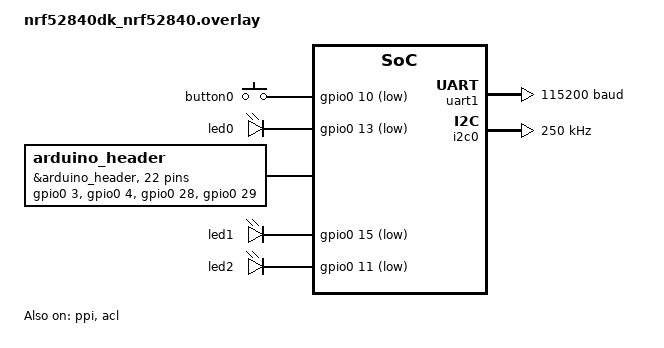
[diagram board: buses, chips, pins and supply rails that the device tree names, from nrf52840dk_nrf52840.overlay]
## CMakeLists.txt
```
cmake_minimum_required(VERSION 3.20.0)
find_package(Zephyr REQUIRED HINTS $ENV{ZEPHYR_BASE})

project(hellow_word)

target_sources(app PRIVATE src/main.c)
```

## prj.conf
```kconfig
CONFIG_LOG=y
CONFIG_GPIO=y

# UART配置
CONFIG_UART_ASYNC_API=y
CONFIG_UART_1_ASYNC=y
CONFIG_UART_1_INTERRUPT_DRIVEN=y
#配置I2C
CONFIG_I2C=y
# CONFIG_I2C_TARGET=y
#CONFIG_LOG_BACKEND_UART=y
# CONFIG_USE_SEGGER_RTT=y
# CONFIG_LOG_BACKEND_RTT=y
# CONFIG_RTT_CONSOLE=y

# 禁用NFC功能，释放P0.09和P0.10引脚
#CONFIG_NFCT=n
```

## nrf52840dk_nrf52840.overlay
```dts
// To get started, press Ctrl+Space to bring up the completion menu and view the available nodes.

// You can also use the buttons in the sidebar to perform actions on nodes.
// Actions currently available include:

// * Enabling / disabling the node
// * Adding the bus to a bus
// * Removing the node
// * Connecting ADC channels

// For more help, browse the DeviceTree documentation at https://docs.zephyrproject.org/latest/guides/dts/index.html
// You can also visit the nRF DeviceTree extension documentation at https://docs.nordicsemi.com/bundle/nrf-connect-vscode/page/guides/ncs_configure_app.html#devicetree-support-in-the-extension

/{
	aliases
	{
		user-key-1=&button0;
		uart1-use-protocol=&uart1;
		user-i2c=&i2c0;
	};
};


&gpio1 {
    status = "okay";
};
&ppi {
	status = "okay";
};

&usbd {
	status = "disabled";
};

&ieee802154 {
	status = "disabled";
};

&ficr {
	status = "disabled";
};


&nfct {
	status = "disabled";
};


&uicr {
	nfct-pins-as-gpios;
};

// &flexcomm4 {
// 	status = "okay";
// };

&button0 {
	gpios = <&gpio0 10 (GPIO_ACTIVE_LOW | GPIO_PULL_UP)>;
};

&led0 {
	gpios = <&gpio0 13 GPIO_ACTIVE_LOW>;
};

&arduino_adc {
	io-channel-map = <0 &adc 1>, <1 &adc 2>, <2 &adc 4>, <3 &adc 5>, <4 &adc 6>, <5 &adc 7>;
};

&arduino_header {
	gpio-map = <ARDUINO_HEADER_R3_A0 0 &gpio0 3 0>,
			   <ARDUINO_HEADER_R3_A1 0 &gpio0 4 0>,
			   <ARDUINO_HEADER_R3_A2 0 &gpio0 28 0>,
			   <ARDUINO_HEADER_R3_A3 0 &gpio0 29 0>,
			   <ARDUINO_HEADER_R3_A4 0 &gpio0 30 0>,
			   <ARDUINO_HEADER_R3_A5 0 &gpio0 31 0>,
			   <ARDUINO_HEADER_R3_D0 0 &gpio1 1 0>,
			   <ARDUINO_HEADER_R3_D1 0 &gpio1 2 0>,
			   <ARDUINO_HEADER_R3_D2 0 &gpio1 3 0>,
			   <ARDUINO_HEADER_R3_D3 0 &gpio1 4 0>,
			   <ARDUINO_HEADER_R3_D4 0 &gpio1 5 0>,
			   <ARDUINO_HEADER_R3_D5 0 &gpio1 6 0>,
			   <ARDUINO_HEADER_R3_D6 0 &gpio1 7 0>,
			   <ARDUINO_HEADER_R3_D7 0 &gpio1 8 0>,
			   <ARDUINO_HEADER_R3_D8 0 &gpio1 10 0>,
			   <ARDUINO_HEADER_R3_D9 0 &gpio1 11 0>,
			   <ARDUINO_HEADER_R3_D10 0 &gpio1 12 0>,
			   <ARDUINO_HEADER_R3_D11 0 &gpio1 13 0>,
			   <ARDUINO_HEADER_R3_D12 0 &gpio1 14 0>,
			   <ARDUINO_HEADER_R3_D13 0 &gpio1 15 0>,
			   <ARDUINO_HEADER_R3_D14 0 &gpio0 26 0>,
			   <ARDUINO_HEADER_R3_D15 0 &gpio0 27 0>;
};

&pwm_led0 {
	pwms = <&pwm0 0 20 PWM_POLARITY_NORMAL>;
};

&pwm0_default {
	group1 {
		psels = <NRF_PSEL(PWM_OUT0, 0, 13)>;
		nordic,invert;
		bias-pull-down;
	};
};

&led1 {
	gpios = <&gpio0 15 (GPIO_ACTIVE_LOW | GPIO_PULL_UP)>;
};


&led2 {
	gpios = <&gpio0 11 GPIO_ACTIVE_LOW>;
};

&uart1 {
	status = "okay";
	current-speed = <115200>;
};

&uart1_default {
	group1 {
		psels = <NRF_PSEL(UART_RX, 0, 24)>;
	};
	group2 {
		psels = <NRF_PSEL(UART_TX, 0, 22)>;
	};
};

&i2c0 {
	status = "okay";
	clock-frequency = <250000>;
};

&timer0 {
	status = "disabled";
};

&acl {
	status = "okay";
};

&clock {
	status = "disabled";
};

&systick {
	status = "disabled";
};

&i2c0_default {
	group1 {
		psels = <NRF_PSEL(TWIM_SCL, 0, 20)>, <NRF_PSEL(TWIM_SDA, 0, 2)>;
	};
};

&gpiote {
	status = "okay";
};

&spi3_default {
	group1 {
		psels = <NRF_PSEL(SPIM_SCK, 1, 15)>,
				<NRF_PSEL(SPIM_MISO, 1, 14)>,
				<NRF_PSEL(SPIM_MOSI, 1, 13)>;
	};
};

&wdt {
	status = "disabled";
};
```

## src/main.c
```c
#include <zephyr/drivers/gpio.h>
#include <zephyr/logging/log.h>
#include <zephyr/kernel.h>
#include <zephyr/drivers/uart.h>
#include <zephyr/drivers/i2c.h>
#include <strings.h>
#include <autoconf.h>

#define BUTTON_NODE DT_ALIAS(user_key_1)
//#define BUTTON_NODE  DT_NODELABEL(button0)
#define LED_NODE DT_NODELABEL(led0)

//#define LED1_NODE DT_NODELABEL(led1)
LOG_MODULE_REGISTER(main, LOG_LEVEL_DBG);
static struct gpio_dt_spec button_struct = GPIO_DT_SPEC_GET(BUTTON_NODE, gpios);
static struct gpio_dt_spec led_struct = GPIO_DT_SPEC_GET(LED_NODE, gpios);
static struct gpio_callback button_callback_struct;

// struct gpio_dt_spec led1_struct = GPIO_DT_SPEC_GET(LED1_NODE, gpios);

uint8_t int_flag = 0;
uint8_t uart1_rx_buf[128] = {0};    // 接收缓冲区
uint8_t uart1_tx_buf[128] = {0};    // 发送缓冲区
bool tx_busy = false;               // 鍙戦€佸繖鏍囧織

/// 配置 I2C
#define I2C_NODE DT_ALIAS(user_i2c)
static const struct device *const i2c_dev = DEVICE_DT_GET(I2C_NODE);
static char last_byte;
// I2C Target 回调函数
static int sample_target_write_requested_cb(struct i2c_target_config *config)
{
	LOG_INF("I2C target write requested");
	return 0;
}

static int sample_target_write_received_cb(struct i2c_target_config *config, uint8_t val)
{
	LOG_INF("I2C target write received: 0x%02x", val);
	last_byte = val;
	return 0;
}

static int sample_target_read_requested_cb(struct i2c_target_config *config, uint8_t *val)
{
	LOG_INF("I2C target read requested");
	*val = last_byte;
	return 0;
}

static int sample_target_read_processed_cb(struct i2c_target_config *config, uint8_t *val)
{
	LOG_INF("I2C target read processed");
	*val = last_byte + 1;
	return 0;
}

static int sample_target_stop_cb(struct i2c_target_config *config)
{
	LOG_INF("I2C target stop");
	return 0;
}

static const struct i2c_target_callbacks sample_target_callbacks = {
	.write_requested = sample_target_write_requested_cb,
	.write_received = sample_target_write_received_cb,
	.read_requested = sample_target_read_requested_cb,
	.read_processed = sample_target_read_processed_cb,
	.stop = sample_target_stop_cb,
};

static struct i2c_target_config user_target_config = {
	.address = 0x12,        
	.callbacks = &sample_target_callbacks,
};

// 配置串口
#define UART1_NODE DT_ALIAS(uart1_use_protocol)
static const struct device *const uart1_dev = DEVICE_DT_GET(UART1_NODE);

void UART1_CALLBACK(const struct device *dev, struct uart_event *evt, void *user_data)
{
        switch (evt->type) {
        case UART_RX_RDY:
                // RX 超时触发，拷贝数据到发送缓冲区并发送
                if (evt->data.rx.len > 0 && !tx_busy) 
                {
                        LOG_INF("RX timeout: %d bytes, sending back", evt->data.rx.len);
                        
                        // 拷贝数据到发送缓冲区
                        memcpy(uart1_tx_buf, &evt->data.rx.buf[evt->data.rx.offset], 
                               evt->data.rx.len);    
                        
                        // 鍙戦€佹暟鎹�
                        tx_busy = true;
                        uart_tx(dev, uart1_tx_buf, evt->data.rx.len, SYS_FOREVER_MS);
                }
                break;

        case UART_RX_BUF_REQUEST:
                // memset(uart1_tx_buf, 0, sizeof(uart1_tx_buf));
                // uart_rx_enable(dev, uart1_rx_buf, sizeof(uart1_rx_buf), 500);
                break;

        case UART_RX_DISABLED:
                // 接收被禁用
                LOG_DBG("RX disabled");
                break;

        case UART_TX_DONE:
                 // 发送完成，清空缓冲区并重新开启接收
                LOG_DBG("TX done: %d bytes", evt->data.tx.len);
                tx_busy = false;
                memset(uart1_rx_buf, 0, sizeof(uart1_rx_buf));
                memset(uart1_tx_buf, 0, sizeof(uart1_tx_buf));
                uart_rx_enable(dev, uart1_rx_buf, sizeof(uart1_rx_buf), 500);
                break;

        case UART_TX_ABORTED:
                // 发送被中止
                LOG_WRN("TX aborted");
                break;

        default:
                break;
        }
}

void gpio_callback(const struct device *port,struct gpio_callback *cb,gpio_port_pins_t pins)
{
        if(pins==BIT(button_struct.pin))
        {
                LOG_DBG("Button pressed");
                int_flag=1;
        }
}


int main(void)
{
        int ret;
        LOG_INF("Hello World! Running on %s", CONFIG_BOARD_TARGET);
        if(gpio_is_ready_dt(&button_struct)==false)
        {
                LOG_ERR("button_init_failed");
        }
        if(gpio_is_ready_dt(&led_struct)==false)
        {
                LOG_ERR("led_init_failed");
        }
        // if(gpio_is_ready_dt(&led1_struct)==false)
        // {
        //         printk("led1_init_flase");
        // }
        
        ret=gpio_pin_configure_dt(&led_struct, GPIO_OUTPUT|GPIO_ACTIVE_HIGH);        
        if(ret<0)
        {
                LOG_ERR("gpio_pin_configure failed: ret=%d", ret);
        }
        ret=gpio_pin_configure_dt(&button_struct, GPIO_INPUT|GPIO_ACTIVE_HIGH);
        if(ret<0)
        {
                LOG_ERR("gpio_pin_configure failed: ret=%d", ret);
        }
        // ret=gpio_pin_configure_dt(&led1_struct, GPIO_OUTPUT);
        // if(ret<0)
        // {
        //         printk("gpio_pin_configure failed: ret=%d\n",ret);
        // }
        ret=gpio_pin_interrupt_configure_dt(&button_struct, GPIO_INT_EDGE_TO_ACTIVE);
        if(ret<0)
        {
                LOG_ERR("button_int_config_failed");
        }
        gpio_init_callback(&button_callback_struct, gpio_callback, BIT(button_struct.pin));
        ret=gpio_add_callback_dt(&button_struct,&button_callback_struct);
        if (ret<0)
        {
                LOG_ERR("button_int_add_failed");
        }
         // 串口初始化
        if (!device_is_ready(uart1_dev)) {
                LOG_ERR("UART device not ready");
                return -1;
        }
        LOG_INF("UART1 device ready");
        ret = uart_callback_set(uart1_dev, UART1_CALLBACK, NULL);
        if (ret < 0) {
                LOG_ERR("uart_callback_set failed: %d", ret);
                return -1;
        }
        ret = uart_rx_enable(uart1_dev, uart1_rx_buf, sizeof(uart1_rx_buf), 500);
        if (ret < 0) {
                LOG_ERR("uart_rx_enable failed: %d", ret);
                return -1;
        }
        LOG_INF("UART1 initialized successfully");
          // I2C 初始化
        if (!device_is_ready(i2c_dev)) 
        {                        
                LOG_ERR("I2C device not ready");
                return -1;
        }
        LOG_INF("I2C device ready");
        // ret = i2c_target_register(i2c_dev, &user_target_config);
        // if (ret < 0) 
        // {
	// 	LOG_ERR("Failed to register I2C target: %d", ret);
	// 	return -1;
	// }
        // LOG_INF("I2C target registered at address 0x%02x", user_target_config.address);

        uint8_t i2c_sendbuff[5]={0,1,2,3,4};
        // gpio_pin_set_dt(&led1_struct,1);
        gpio_pin_set_dt(&led_struct,1);
        while (1)
        {
                LOG_INF("I2C data sent: 0x%02x 0x%02x 0x%02x 0x%02x 0x%02x", i2c_sendbuff[0], i2c_sendbuff[1], i2c_sendbuff[2], i2c_sendbuff[3], i2c_sendbuff[4]);
                ret=i2c_write(i2c_dev,i2c_sendbuff,5,user_target_config.address);
                if(ret<0)
                {
                        LOG_ERR("I2C write failed: %d", ret);
                }
                k_sleep(K_MSEC(1000));
                
                if(int_flag==1)
                {
                        int_flag=0;
                }
        }
        return 0;       
}
```
